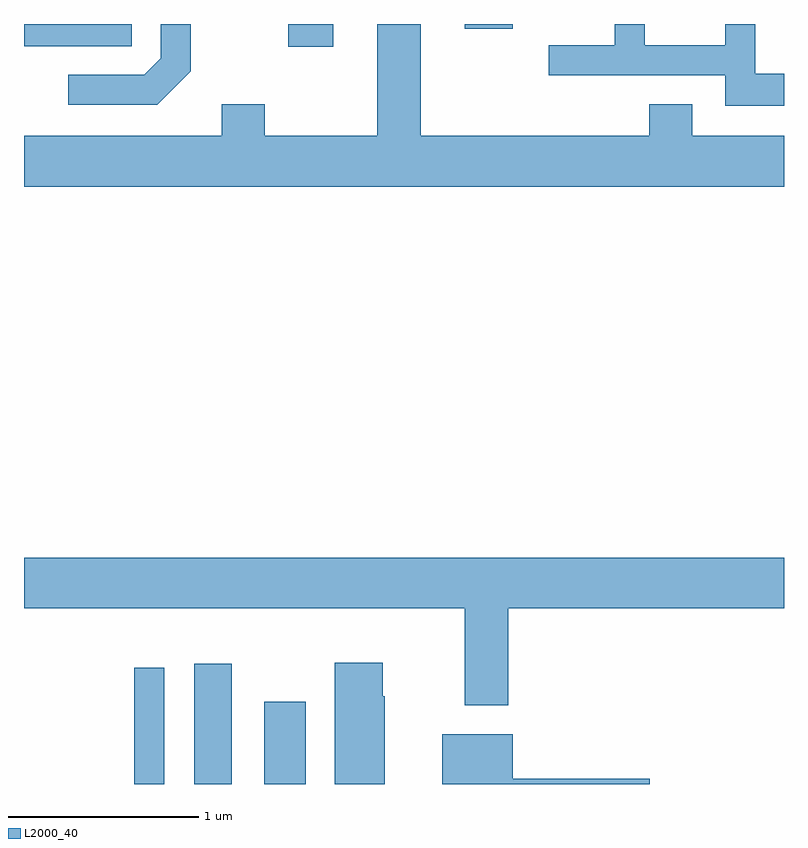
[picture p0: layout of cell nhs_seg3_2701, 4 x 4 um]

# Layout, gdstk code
import gdstk
lib = gdstk.Library(unit=1e-6, precision=1e-09)
def R(c, l, rs):  # rectangles x0, y0, x1, y1
    for r in rs: c.add(gdstk.rectangle(r[:2], r[2:], *l))
def P(c, l, *ps):  # polygons
    for p in ps: c.add(gdstk.Polygon(p, *l))
L2000_40 = (2000, 40)

nhs_seg3_2701 = lib.new_cell('nhs_seg3_2701')
R(nhs_seg3_2701, L2000_40, [(264.191,1213.892,264.349,1214.503), (264.506,1213.892,264.704,1214.524), (264.876,1213.892,265.094,1214.324), (265.003,1217.771,265.239,1217.892), (263.611,1217.776,264.179,1217.892), (265.931,1217.866,266.184,1217.892)])
P(nhs_seg3_2701, L2000_40, [(267.611,1217.304),(267.129,1217.304),(267.129,1217.469),(266.901,1217.469),(266.901,1217.304),(265.699,1217.304),(265.699,1217.892),(265.471,1217.892),(265.471,1217.304),(264.879,1217.304),(264.879,1217.469),(264.651,1217.469),(264.651,1217.304),(263.611,1217.304),(263.611,1217.036),(267.611,1217.036)],
  [(267.611,1217.629),(267.459,1217.629),(267.459,1217.892),(267.301,1217.892),(267.301,1217.779),(266.879,1217.779),(266.879,1217.892),(266.721,1217.892),(266.721,1217.779),(266.373,1217.779),(266.373,1217.621),(267.301,1217.621),(267.301,1217.461),(267.611,1217.461)],
  [(264.489,1217.644),(264.489,1217.892),(264.331,1217.892),(264.331,1217.712),(264.244,1217.624),(263.843,1217.624),(263.843,1217.466),(264.312,1217.466)],
  [(266.159,1214.816),(267.611,1214.816),(267.611,1215.084),(263.611,1215.084),(263.611,1214.816),(265.931,1214.816),(265.931,1214.306),(266.159,1214.306)],
  [(265.509,1214.355),(265.499,1214.355),(265.499,1214.529),(265.246,1214.529),(265.246,1213.892),(265.509,1213.892)],
  [(266.904,1213.919),(266.184,1213.919),(266.184,1214.154),(265.811,1214.154),(265.811,1213.892),(266.904,1213.892)])

lib.write_gds('nhs_seg3_2701.gds')
